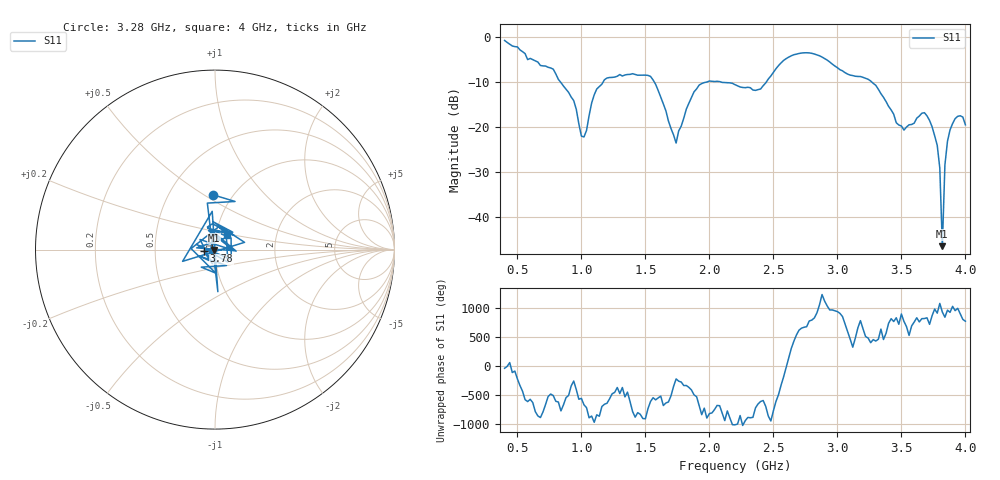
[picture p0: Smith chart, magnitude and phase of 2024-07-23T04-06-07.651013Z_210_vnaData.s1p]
!Created with skrf (http://scikit-rf.org).
# Hz S RI R 50.0
!freq ReS11 ImS11
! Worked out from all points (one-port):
!   181 points, 400 MHz to 4 GHz, reference 50 ohm
!   lowest |S11| = -46.5 dB at 3.82 GHz (marker M1), VSWR 1.01, Z = 49.6 - j0.216 ohm
!   |S11| at or under -10 dB: 1.569 GHz to 1.981 GHz (411.9 MHz wide, 23.2 % of centre); 2.09 GHz to 2.445 GHz (354.9 MHz wide, 15.7 % of centre); 3.268 GHz to end of sweep (the widest 3 of 4)
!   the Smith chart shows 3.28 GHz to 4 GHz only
!   S11 on the Smith chart (normalised r, x): 3.28 GHz: 0.81, +0.55; 3.78 GHz: 0.88, -0.02; 4 GHz: 1.13, +0.18
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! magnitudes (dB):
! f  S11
! 400 MHz  -0.8
! 780 MHz  -7.1
! 860 MHz  -10.9
! 940 MHz  -14.1
! 1 GHz  -22.0
! 1.02 GHz  -22.2
! 1.12 GHz  -11.6
! 1.3 GHz  -8.3
! 1.54 GHz  -8.8
! 1.74 GHz  -23.6
! 1.76 GHz  -20.9
! 1.92 GHz  -10.7
! 2.2 GHz  -10.6
! 2.4 GHz  -11.6
! 2.66 GHz  -3.9
! 2.86 GHz  -4.2
! 3.1 GHz  -8.5
! 3.28 GHz  -10.3
! 3.46 GHz  -19.1
! 3.56 GHz  -19.5
! 3.68 GHz  -16.8
! 3.78 GHz  -24.1
! 3.8 GHz  -29.1
! 3.82 GHz  -46.5
! 3.84 GHz  -28.4
! 3.86 GHz  -23.2
! 3.92 GHz  -18.1
! 4 GHz  -19.5
